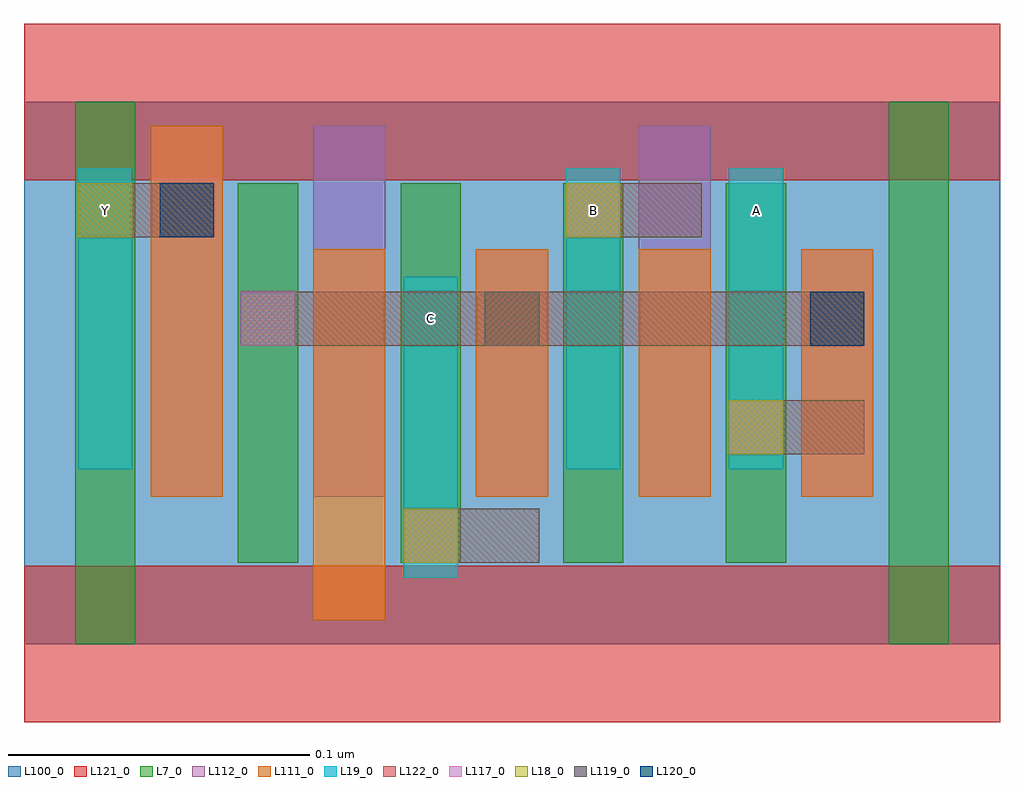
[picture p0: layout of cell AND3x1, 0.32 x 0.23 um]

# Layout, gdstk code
import gdstk
lib = gdstk.Library(unit=1e-6, precision=2.5e-10)
def R(c, l, rs):  # rectangles x0, y0, x1, y1
    for r in rs: c.add(gdstk.rectangle(r[:2], r[2:], *l))
def A(c, l, x, y, w, h, nx, ny, dx, dy):  # array of equal rectangles
    R(c, l, [(x+i*dx, y+j*dy, x+i*dx+w, y+j*dy+h) for i in range(nx) for j in range(ny)])
L7_0 = (7, 0)
L18_0 = (18, 0)
L19_0 = (19, 0)
L100_0 = (100, 0)
L111_0 = (111, 0)
L112_0 = (112, 0)
L117_0 = (117, 0)
L119_0 = (119, 0)
L120_0 = (120, 0)
L121_0 = (121, 0)
L122_0 = (122, 0)

and3x1 = lib.new_cell('AND3x1')
A(and3x1, L7_0, 0.071, 0.027, 0.02, 0.126, 4, 1, 0.054, 0)
R(and3x1, L7_0, [(0.017,0,0.037,0.18), (0.287,0,0.307,0.18)])
R(and3x1, L18_0, [(0.126,0.027,0.144,0.045), (0.234,0.063,0.252,0.081), (0.018,0.135,0.036,0.153), (0.18,0.135,0.198,0.153)])
R(and3x1, L19_0, [(0.126,0.022,0.144,0.122), (0.018,0.058,0.036,0.158), (0.18,0.058,0.198,0.158), (0.234,0.058,0.252,0.158)])
R(and3x1, L100_0, [(0,0,0.324,0.18)])
A(and3x1, L111_0, 0.15, 0.049, 0.024, 0.082, 3, 1, 0.054, 0)
R(and3x1, L111_0, [(0.096,0.008,0.12,0.131), (0.042,0.049,0.066,0.172)])
R(and3x1, L112_0, [(0.042,0.049,0.066,0.172), (0.096,0.049,0.12,0.172), (0.15,0.049,0.174,0.131), (0.204,0.049,0.228,0.172), (0.258,0.049,0.282,0.131)])
R(and3x1, L117_0, [(0.126,0.027,0.144,0.045), (0.234,0.063,0.252,0.081), (0.072,0.099,0.09,0.117), (0.18,0.135,0.198,0.153)])
R(and3x1, L119_0, [(0.153,0.099,0.171,0.117), (0.261,0.099,0.279,0.117), (0.045,0.135,0.063,0.153)])
R(and3x1, L120_0, [(0.261,0.099,0.279,0.117), (0.045,0.135,0.063,0.153)])
R(and3x1, L121_0, [(0,-0.026,0.324,0.026), (0,0.154,0.324,0.206)])
R(and3x1, L122_0, [(0.126,0.027,0.171,0.045), (0.234,0.063,0.279,0.081), (0.072,0.099,0.279,0.117), (0.018,0.135,0.063,0.153), (0.18,0.135,0.225,0.153)])
and3x1.add(gdstk.Label('Y', (0.027,0.144), layer=19, texttype=251))
and3x1.add(gdstk.Label('C', (0.135,0.108), layer=19, texttype=251))
and3x1.add(gdstk.Label('B', (0.189,0.144), layer=19, texttype=251))
and3x1.add(gdstk.Label('A', (0.243,0.144), layer=19, texttype=251))

lib.write_gds('AND3x1.gds')
